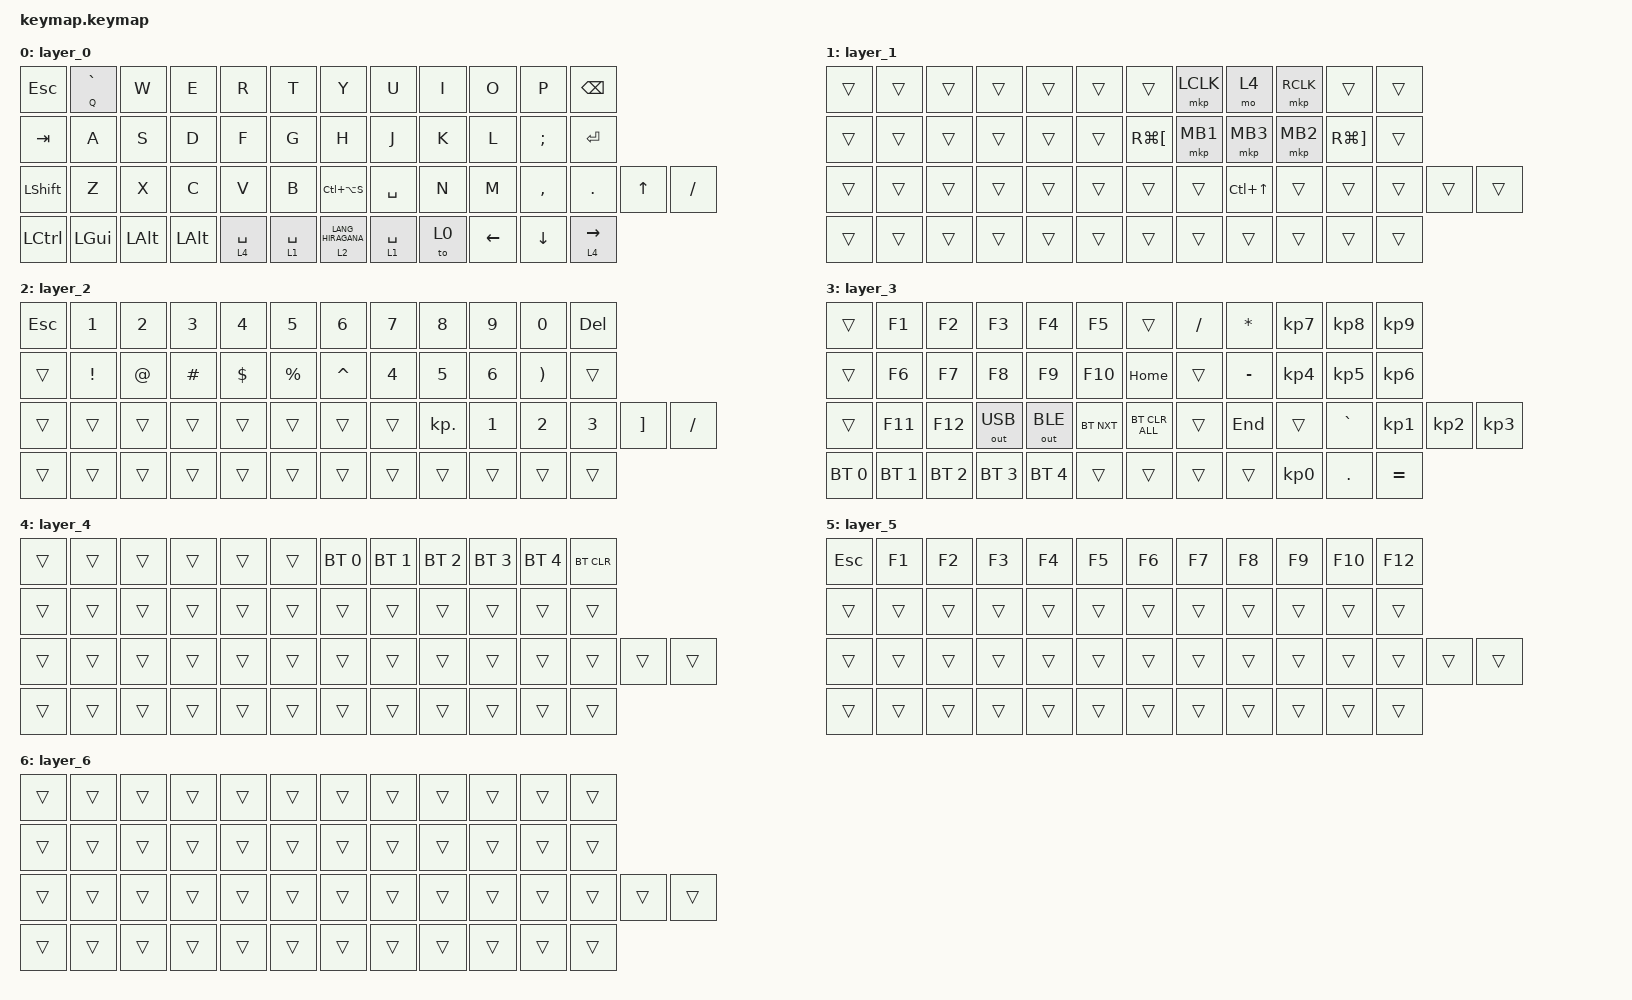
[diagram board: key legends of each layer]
#include <behaviors.dtsi>
#include <dt-bindings/zmk/bt.h>
#include <dt-bindings/zmk/keys.h>
#include <dt-bindings/zmk/outputs.h>
#include <dt-bindings/zmk/pointing.h>

/ {
    combos { compatible = "zmk,combos"; };

    keymap {
        compatible = "zmk,keymap";

        layer_0 {
            bindings = <
&kp ESCAPE        &mt Q GRAVE   &kp W         &kp E     &kp R        &kp T        &kp Y                &kp U        &kp I  &kp O           &kp P           &kp BSPC
&kp TAB           &kp A         &kp S         &kp D     &kp F        &kp G        &kp H                &kp J        &kp K  &kp L           &kp SEMICOLON   &kp ENTER
&kp LSHFT         &kp Z         &kp X         &kp C     &kp V        &kp B        &kp LC(LA(S))        &kp SPACE    &kp N  &kp M           &kp COMMA       &kp DOT      &kp UP_ARROW  &kp SLASH
&kp LEFT_CONTROL  &kp LEFT_GUI  &kp LEFT_ALT  &kp LALT  &lt 4 SPACE  &lt 1 SPACE  &lt 2 LANG_HIRAGANA  &lt 1 SPACE  &to 0  &kp LEFT_ARROW  &kp DOWN_ARROW  &lt 4 RIGHT
            >;
        };

        layer_1 {
            bindings = <
&trans  &trans  &trans  &trans  &trans  &trans  &trans                &mkp LCLK  &mo 4             &mkp RCLK  &trans                 &trans
&trans  &trans  &trans  &trans  &trans  &trans  &kp RG(LEFT_BRACKET)  &mkp MB1   &mkp MB3          &mkp MB2   &kp RG(RIGHT_BRACKET)  &trans
&trans  &trans  &trans  &trans  &trans  &trans  &trans                &trans     &kp LC(UP_ARROW)  &trans     &trans                 &trans  &trans  &trans
&trans  &trans  &trans  &trans  &trans  &trans  &trans                &trans     &trans            &trans     &trans                 &trans
            >;
        };

        layer_2 {
            bindings = <
&kp ESCAPE  &kp N1    &kp N2  &kp N3    &kp N4      &kp N5     &kp N6     &kp N7        &kp N8        &kp N9        &kp N0                 &kp DELETE
&trans      &kp EXCL  &kp AT  &kp HASH  &kp DOLLAR  &kp PRCNT  &kp CARET  &kp NUMBER_4  &kp NUMBER_5  &kp NUMBER_6  &kp RIGHT_PARENTHESIS  &trans
&trans      &trans    &trans  &trans    &trans      &trans     &trans     &trans        &kp KP_DOT    &kp NUMBER_1  &kp NUMBER_2           &kp NUMBER_3  &kp RIGHT_BRACKET  &kp SLASH
&trans      &trans    &trans  &trans    &trans      &trans     &trans     &trans        &trans        &trans        &trans                 &trans
            >;
        };

        layer_3 {
            bindings = <
&trans        &kp F1        &kp F2        &kp F3        &kp F4        &kp F5      &trans          &kp FSLH  &kp ASTRK  &kp KP_NUMBER_7  &kp KP_NUMBER_8  &kp KP_NUMBER_9
&trans        &kp F6        &kp F7        &kp F8        &kp F9        &kp F10     &kp HOME        &trans    &kp MINUS  &kp KP_NUMBER_4  &kp KP_NUMBER_5  &kp KP_NUMBER_6
&trans        &kp F11       &kp F12       &out OUT_USB  &out OUT_BLE  &bt BT_NXT  &bt BT_CLR_ALL  &trans    &kp END    &trans           &kp GRAVE        &kp KP_NUMBER_1  &kp KP_NUMBER_2  &kp KP_NUMBER_3
&bt BT_SEL 0  &bt BT_SEL 1  &bt BT_SEL 2  &bt BT_SEL 3  &bt BT_SEL 4  &trans      &trans          &trans    &trans     &kp KP_NUMBER_0  &kp DOT          &kp EQUAL
            >;
        };

        layer_4 {
            bindings = <
&trans  &trans  &trans  &trans  &trans  &trans  &bt BT_SEL 0  &bt BT_SEL 1  &bt BT_SEL 2  &bt BT_SEL 3  &bt BT_SEL 4  &bt BT_CLR
&trans  &trans  &trans  &trans  &trans  &trans  &trans        &trans        &trans        &trans        &trans        &trans
&trans  &trans  &trans  &trans  &trans  &trans  &trans        &trans        &trans        &trans        &trans        &trans      &trans  &trans
&trans  &trans  &trans  &trans  &trans  &trans  &trans        &trans        &trans        &trans        &trans        &trans
            >;
        };

        layer_5 {
            bindings = <
&kp ESC  &kp F1  &kp F2  &kp F3  &kp F4  &kp F5  &kp F6  &kp F7  &kp F8  &kp F9  &kp F10  &kp F12
&trans   &trans  &trans  &trans  &trans  &trans  &trans  &trans  &trans  &trans  &trans   &trans
&trans   &trans  &trans  &trans  &trans  &trans  &trans  &trans  &trans  &trans  &trans   &trans   &trans  &trans
&trans   &trans  &trans  &trans  &trans  &trans  &trans  &trans  &trans  &trans  &trans   &trans
            >;
        };

        layer_6 {
            bindings = <
&trans  &trans  &trans  &trans  &trans  &trans  &trans  &trans  &trans  &trans  &trans  &trans
&trans  &trans  &trans  &trans  &trans  &trans  &trans  &trans  &trans  &trans  &trans  &trans
&trans  &trans  &trans  &trans  &trans  &trans  &trans  &trans  &trans  &trans  &trans  &trans  &trans  &trans
&trans  &trans  &trans  &trans  &trans  &trans  &trans  &trans  &trans  &trans  &trans  &trans
            >;
        };
    };
};
